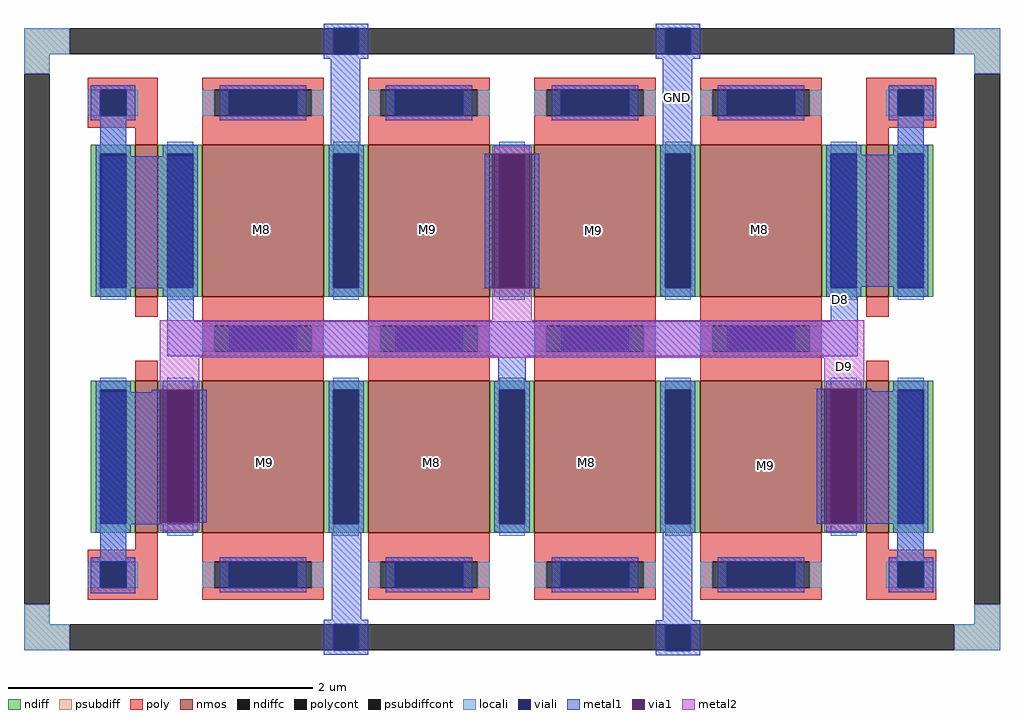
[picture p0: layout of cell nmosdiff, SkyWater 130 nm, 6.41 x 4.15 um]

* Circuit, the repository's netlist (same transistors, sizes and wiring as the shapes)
** sch_path: /home/enka/opamp/mag/opamp89/nmos89.sch
.subckt nmos89 GND D9 D8
*.PININFO GND:B D9:B D8:B
XM8 D8 D8 GND GND sky130_fd_pr__nfet_01v8 L=0.8 W=1 nf=1 m=4
XM9 D9 D8 GND GND sky130_fd_pr__nfet_01v8 L=0.8 W=1 nf=1 m=4
XM1 D9 D9 D9 GND sky130_fd_pr__nfet_01v8 L=0.15 W=1 nf=1 m=2
XM2 D8 D8 D8 GND sky130_fd_pr__nfet_01v8 L=0.15 W=1 nf=1 m=2
.ends
.end

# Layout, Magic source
magic
tech sky130A
magscale 1 2
<< psubdiff >>
rect -146 -338 -86 -304
rect 1076 -338 1136 -304
rect -146 -364 -112 -338
rect 1102 -364 1136 -338
rect -146 -1087 -112 -1061
rect 1102 -1087 1136 -1061
rect -146 -1121 -86 -1087
rect 1076 -1121 1136 -1087
<< psubdiffcont >>
rect -86 -338 1076 -304
rect -146 -1061 -112 -364
rect 1102 -1061 1136 -364
rect -86 -1121 1076 -1087
<< poly >>
rect -62 -385 30 -369
rect -62 -419 -46 -385
rect -12 -419 30 -385
rect -62 -435 30 -419
rect 960 -385 1052 -369
rect 960 -419 1002 -385
rect 1036 -419 1052 -385
rect 960 -435 1052 -419
rect 0 -989 30 -980
rect -62 -1005 30 -989
rect -62 -1039 -46 -1005
rect -12 -1039 30 -1005
rect -62 -1055 30 -1039
rect 960 -989 990 -987
rect 960 -1005 1052 -989
rect 960 -1039 1002 -1005
rect 1036 -1039 1052 -1005
rect 960 -1055 1052 -1039
<< polycont >>
rect -46 -419 -12 -385
rect 1002 -419 1036 -385
rect -46 -1039 -12 -1005
rect 1002 -1039 1036 -1005
<< locali >>
rect -146 -338 -86 -304
rect 1076 -338 1136 -304
rect -146 -364 -112 -338
rect 1102 -364 1136 -338
rect -62 -419 -46 -385
rect -12 -419 4 -385
rect 986 -419 1002 -385
rect 1036 -419 1052 -385
rect -46 -465 -12 -419
rect 1002 -464 1036 -419
rect -46 -1005 -12 -960
rect 1001 -1005 1036 -962
rect -62 -1039 -46 -1005
rect -12 -1039 4 -1005
rect 986 -1039 1002 -1005
rect 1036 -1039 1052 -1005
rect -146 -1087 -112 -1061
rect 1102 -1087 1136 -1061
rect -146 -1121 -86 -1087
rect 1076 -1121 1136 -1087
<< viali >>
rect 260 -338 294 -304
rect 696 -338 730 -304
rect -46 -419 -12 -385
rect 1002 -419 1036 -385
rect -46 -1039 -12 -1005
rect 1002 -1039 1036 -1005
rect 260 -1121 294 -1087
rect 696 -1121 730 -1088
rect 696 -1122 730 -1121
<< metal1 >>
rect 248 -304 306 -298
rect 248 -338 260 -304
rect 294 -338 306 -304
rect 248 -344 306 -338
rect 684 -304 742 -298
rect 684 -338 696 -304
rect 730 -338 742 -304
rect 684 -344 742 -338
rect -58 -385 0 -379
rect -58 -419 -46 -385
rect -12 -419 0 -385
rect -58 -425 0 -419
rect -46 -465 -12 -425
rect 257 -466 296 -344
rect 693 -467 732 -344
rect 990 -385 1048 -379
rect 990 -419 1002 -385
rect 1036 -419 1048 -385
rect 990 -425 1048 -419
rect 1002 -464 1036 -425
rect -44 -645 76 -472
rect -44 -646 77 -645
rect 459 -646 469 -469
rect 521 -646 531 -469
rect 915 -644 1035 -470
rect 42 -689 77 -646
rect 914 -689 949 -647
rect 42 -735 949 -689
rect 477 -779 513 -735
rect 22 -782 32 -779
rect -49 -954 32 -782
rect 84 -954 94 -779
rect -49 -956 71 -954
rect 895 -955 905 -778
rect 957 -781 967 -778
rect 957 -955 1033 -781
rect -46 -999 -12 -960
rect -58 -1005 0 -999
rect -58 -1039 -46 -1005
rect -12 -1039 0 -1005
rect -58 -1046 0 -1039
rect 258 -1081 297 -959
rect 248 -1087 306 -1081
rect 693 -1082 732 -958
rect 1001 -999 1036 -962
rect 990 -1005 1048 -999
rect 990 -1039 1002 -1005
rect 1036 -1039 1048 -1005
rect 990 -1045 1048 -1039
rect 248 -1121 260 -1087
rect 294 -1121 306 -1087
rect 248 -1127 306 -1121
rect 684 -1088 742 -1082
rect 684 -1122 696 -1088
rect 730 -1122 742 -1088
rect 684 -1128 742 -1122
<< via1 >>
rect 469 -646 521 -469
rect 32 -954 84 -779
rect 905 -955 957 -778
<< metal2 >>
rect 469 -469 521 -459
rect 469 -688 521 -646
rect 32 -737 958 -688
rect 32 -779 84 -737
rect 32 -964 84 -954
rect 905 -767 958 -737
rect 905 -778 957 -767
rect 905 -965 957 -955
use sky130_fd_pr__nfet_01v8_6H9P4D  sky130_fd_pr__nfet_01v8_6H9P4D_0
transform 1 0 975 0 1 -867
box -73 -126 73 126
use sky130_fd_pr__nfet_01v8_6H9P4D  sky130_fd_pr__nfet_01v8_6H9P4D_1
transform 1 0 15 0 1 -557
box -73 -126 73 126
use sky130_fd_pr__nfet_01v8_6H9P4D  sky130_fd_pr__nfet_01v8_6H9P4D_2
transform 1 0 15 0 1 -867
box -73 -126 73 126
use sky130_fd_pr__nfet_01v8_6H9P4D  sky130_fd_pr__nfet_01v8_6H9P4D_3
transform 1 0 975 0 1 -557
box -73 -126 73 126
use sky130_fd_pr__nfet_01v8_YYNGNX  sky130_fd_pr__nfet_01v8_YYNGNX_0
transform 1 0 495 0 1 -712
box -465 -343 465 343
<< labels >>
flabel metal1 135 -601 197 -535 0 FreeSans 160 0 0 0 M8
flabel metal1 789 -601 851 -535 0 FreeSans 160 0 0 0 M8
flabel metal1 562 -907 624 -841 0 FreeSans 160 0 0 0 M8
flabel metal1 358 -907 420 -841 0 FreeSans 160 0 0 0 M8
flabel metal1 571 -603 633 -537 0 FreeSans 160 0 0 0 M9
flabel metal1 353 -601 415 -535 0 FreeSans 160 0 0 0 M9
flabel metal1 797 -911 859 -845 0 FreeSans 160 0 0 0 M9
flabel metal1 139 -908 201 -842 0 FreeSans 160 0 0 0 M9
flabel metal2 917 -760 946 -738 0 FreeSans 160 0 0 0 D9
port 6 nsew
flabel metal1 698 -429 727 -361 0 FreeSans 160 0 0 0 GND
port 2 nsew
flabel metal1 918 -664 934 -657 0 FreeSans 160 0 0 0 D8
port 7 nsew
<< end >>

# cell sky130_fd_pr__nfet_01v8_6H9P4D: kit device sky130_fd_pr__nfet_01v8, w 1 l 0.150 m 1 nf 1 diffcov 100 polycov 100 guard 0 glc 1 grc 1 gtc 1 gbc 1 tbcov 100 rlcov 100 topc 0 botc 0 poverlap 0 doverlap 1 lmin 0.15 wmin 0.42 compatible {sky130_fd_pr__nfet_01v8 sky130_fd_pr__nfet_01v8_lvt sky130_fd_bs_flash__special_sonosfet_star sky130_fd_pr__nfet_g5v0d10v5 sky130_fd_pr__nfet_05v0_nvt sky130_fd_pr__nfet_03v3_nvt} full_metal 1 viasrc 100 viadrn 100 viagate 100 viagb 0 viagr 0 viagl 0 viagt 0

# cell sky130_fd_pr__nfet_01v8_YYNGNX: kit device sky130_fd_pr__nfet_01v8, w 1 l 0.8 m 2 nf 4 diffcov 100 polycov 100 guard 0 glc 1 grc 1 gtc 1 gbc 1 tbcov 100 rlcov 100 topc 1 botc 1 poverlap 1 doverlap 1 lmin 0.15 wmin 0.42 compatible {sky130_fd_pr__nfet_01v8 sky130_fd_pr__nfet_01v8_lvt sky130_fd_bs_flash__special_sonosfet_star sky130_fd_pr__nfet_g5v0d10v5 sky130_fd_pr__nfet_05v0_nvt sky130_fd_pr__nfet_03v3_nvt} full_metal 1 viasrc 100 viadrn 100 viagate 70 viagb 0 viagr 0 viagl 0 viagt 0
